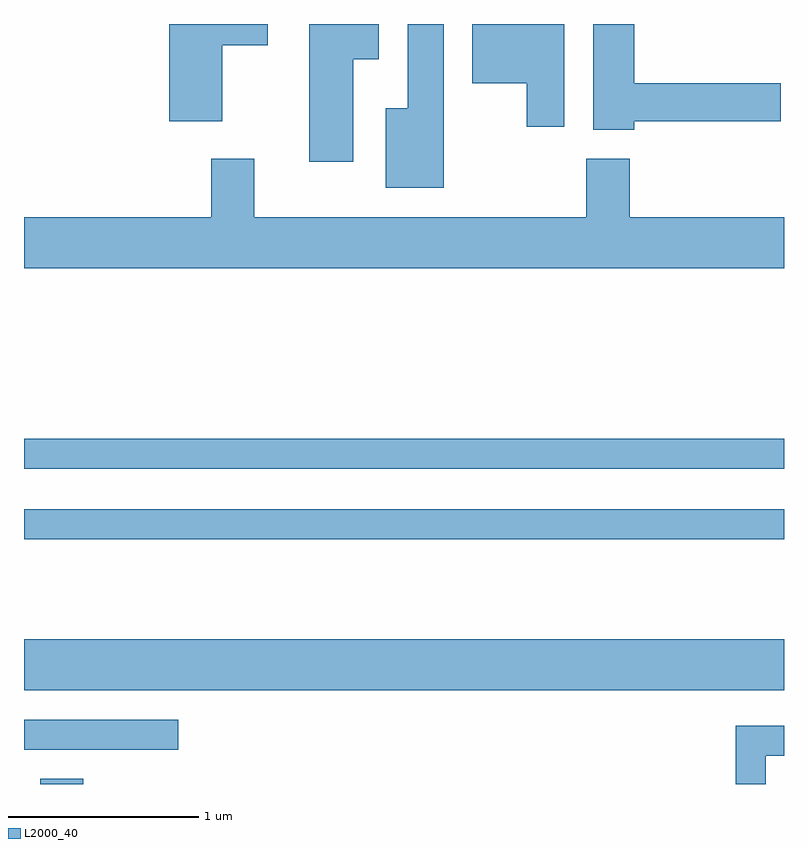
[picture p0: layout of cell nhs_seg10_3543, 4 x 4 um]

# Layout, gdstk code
import gdstk
lib = gdstk.Library(unit=1e-6, precision=1e-09)
def R(c, l, rs):  # rectangles x0, y0, x1, y1
    for r in rs: c.add(gdstk.rectangle(r[:2], r[2:], *l))
def P(c, l, *ps):  # polygons
    for p in ps: c.add(gdstk.Polygon(p, *l))
L2000_40 = (2000, 40)

nhs_seg10_3543 = lib.new_cell('nhs_seg10_3543')
R(nhs_seg10_3543, L2000_40, [(289.696,2124.522,289.924,2124.549), (289.611,2124.701,290.423,2124.859), (289.611,2125.016,293.611,2125.284), (289.611,2125.811,293.611,2125.969), (289.611,2126.181,293.611,2126.339)])
P(nhs_seg10_3543, L2000_40, [(292.454,2128.522),(291.971,2128.522),(291.971,2128.211),(292.256,2128.211),(292.256,2127.981),(292.454,2127.981)],
  [(291.819,2128.522),(291.631,2128.522),(291.631,2128.079),(291.516,2128.079),(291.516,2127.661),(291.819,2127.661)],
  [(292.824,2128.011),(293.594,2128.011),(293.594,2128.209),(292.824,2128.209),(292.824,2128.522),(292.606,2128.522),(292.606,2127.966),(292.824,2127.966)],
  [(290.654,2128.411),(290.894,2128.411),(290.894,2128.522),(290.376,2128.522),(290.376,2128.011),(290.654,2128.011)],
  [(291.344,2128.336),(291.479,2128.336),(291.479,2128.522),(291.111,2128.522),(291.111,2127.796),(291.344,2127.796)],
  [(293.611,2127.504),(292.799,2127.504),(292.799,2127.814),(292.571,2127.814),(292.571,2127.504),(290.824,2127.504),(290.824,2127.814),(290.596,2127.814),(290.596,2127.504),(289.611,2127.504),(289.611,2127.236),(293.611,2127.236)],
  [(293.514,2124.671),(293.611,2124.671),(293.611,2124.829),(293.356,2124.829),(293.356,2124.522),(293.514,2124.522)])

lib.write_gds('nhs_seg10_3543.gds')
